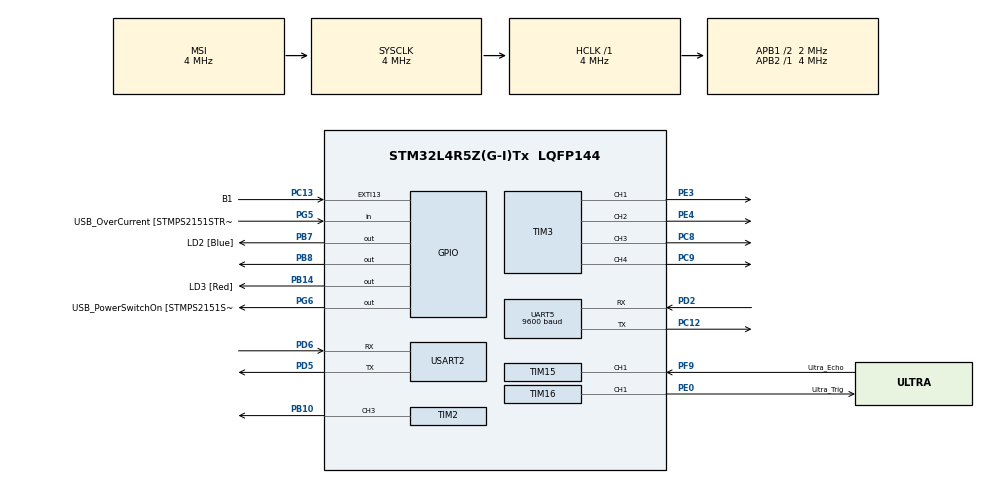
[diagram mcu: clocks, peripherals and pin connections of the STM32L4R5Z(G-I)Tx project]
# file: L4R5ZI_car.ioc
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Mcu.Family=STM32L4
Mcu.Name=STM32L4R5Z(G-I)Tx
Mcu.Package=LQFP144
NVIC.PriorityGroup=NVIC_PRIORITYGROUP_4
NVIC.TIM1_BRK_TIM15_IRQn=true\:1\:0\:true\:false\:true\:true\:true\:true
PA10.GPIO_Label=USB_ID
PA10.Signal=USB_OTG_FS_ID
PA11.GPIO_Label=USB_DM
PA11.Signal=USB_OTG_FS_DM
PA12.GPIO_Label=USB_DP
PA12.Signal=USB_OTG_FS_DP
PA13\ (JTMS/SWDIO).GPIO_Label=TMS
PA13\ (JTMS/SWDIO).Mode=Trace_Asynchronous_SW
PA13\ (JTMS/SWDIO).Signal=SYS_JTMS-SWDIO
PA14\ (JTCK/SWCLK).GPIO_Label=TCK
PA14\ (JTCK/SWCLK).Mode=Trace_Asynchronous_SW
PA14\ (JTCK/SWCLK).Signal=SYS_JTCK-SWCLK
PA8.GPIO_Label=USB_SOF [TP1]
PA8.Signal=USB_OTG_FS_SOF
PA9.GPIO_Label=USB_VBUS
PA9.Signal=USB_OTG_FS_VBUS
PB10.Signal=S_TIM2_CH3
PB14.GPIO_Label=LD3 [Red]
PB14.Signal=GPIO_Output
PB3\ (JTDO/TRACESWO).GPIO_Label=SWO
PB3\ (JTDO/TRACESWO).Mode=Trace_Asynchronous_SW
PB3\ (JTDO/TRACESWO).Signal=SYS_JTDO-SWO
PB7.GPIO_Label=LD2 [Blue]
PB7.Signal=GPIO_Output
PB8.Signal=GPIO_Output
PC10.GPIO_Label=STLK_RX [STM32F103CBT6_PA3]
PC10.Signal=USART3_TX
PC11.GPIO_Label=STLK_TX [STM32F103CBT6_PA2]
PC11.Signal=USART3_RX
PC12.Mode=Asynchronous
PC12.Signal=UART5_TX
PC13.GPIO_Label=B1
PC13.Signal=GPXTI13
PC14-OSC32_IN\ (PC14).Mode=LSE-External-Oscillator
PC14-OSC32_IN\ (PC14).Signal=RCC_OSC32_IN
PC15-OSC32_OUT\ (PC15).Mode=LSE-External-Oscillator
PC15-OSC32_OUT\ (PC15).Signal=RCC_OSC32_OUT
PC8.Signal=S_TIM3_CH3
PC9.Signal=S_TIM3_CH4
PD2.Mode=Asynchronous
PD2.Signal=UART5_RX
PD5.Mode=Asynchronous
PD5.Signal=USART2_TX
PD6.Mode=Asynchronous
PD6.Signal=USART2_RX
PE0.GPIO_Label=Ultra_Trig
PE0.Signal=S_TIM16_CH1
PE3.Signal=S_TIM3_CH1
PE4.Signal=S_TIM3_CH2
PF9.GPIO_Label=Ultra_Echo
PF9.Signal=S_TIM15_CH1
PG5.GPIO_Label=USB_OverCurrent [STMPS2151STR_FAULT]
PG5.Signal=GPIO_Input
PG6.GPIO_Label=USB_PowerSwitchOn [STMPS2151STR_En]
PG6.Signal=GPIO_Output
PG7.GPIO_Label=STLINK_TX
PG7.Signal=LPUART1_TX
PG8.GPIO_Label=STLINK_RX
PG8.Signal=LPUART1_RX
PH0-OSC_IN\ (PH0).Mode=HSE-External-Clock-Source
PH0-OSC_IN\ (PH0).Signal=RCC_OSC_IN
PH1-OSC_OUT\ (PH1).Signal=RCC_OSC_OUT
ProjectManager.HeapSize=0x200
ProjectManager.StackSize=0x400
ProjectManager.TargetToolchain=STM32CubeIDE
RCC.48MHZClocksFreq_Value=24000000
RCC.AHBFreq_Value=4000000
RCC.APB1CLKDivider=RCC_HCLK_DIV2
RCC.APB1Freq_Value=2000000
RCC.APB1TimFreq_Value=4000000
RCC.APB2Freq_Value=4000000
RCC.APB2TimFreq_Value=4000000
RCC.CortexFreq_Value=4000000
RCC.HCLKFreq_Value=4000000
RCC.HSE_VALUE=8000000
RCC.HSI48_VALUE=48000000
RCC.HSI_VALUE=16000000
RCC.MSI_VALUE=4000000
RCC.PLLMUL=RCC_PLL_MUL9
RCC.PRESCALERUSB=RCC_USBCLKSOURCE_PLL_DIV1_5
RCC.SYSCLKFreq_VALUE=4000000
RCC.SYSCLKSourceVirtual=RCC_SYSCLKSOURCE_PLLCLK
RCC.USBFreq_Value=16000000
RCC.VCOOutputFreq_Value=32000000
SH.S_TIM15_CH1.0=TIM15_CH1,Input_Capture1_from_TI1
SH.S_TIM16_CH1.0=TIM16_CH1,PWM Generation1 CH1
SH.S_TIM2_CH3.0=TIM2_CH3,PWM Generation3 CH3
SH.S_TIM3_CH1.0=TIM3_CH1,PWM Generation1 CH1
SH.S_TIM3_CH2.0=TIM3_CH2,PWM Generation2 CH2
SH.S_TIM3_CH3.0=TIM3_CH3,PWM Generation3 CH3
SH.S_TIM3_CH4.0=TIM3_CH4,PWM Generation4 CH4
TIM15.Channel-Input_Capture1_from_TI1=TIM_CHANNEL_1
TIM15.Prescaler=3
TIM16.Channel=TIM_CHANNEL_1
TIM16.Period=3999
TIM16.Prescaler=39
TIM16.Pulse=1
TIM2.Channel-PWM\ Generation3\ CH3=TIM_CHANNEL_3
TIM2.OCPolarity_3=TIM_OCPOLARITY_LOW
TIM2.Period=1000
TIM2.Prescaler=8
TIM2.Pulse-PWM\ Generation3\ CH3=500
TIM3.Channel-PWM\ Generation1\ CH1=TIM_CHANNEL_1
TIM3.Channel-PWM\ Generation2\ CH2=TIM_CHANNEL_2
TIM3.Channel-PWM\ Generation3\ CH3=TIM_CHANNEL_3
TIM3.Channel-PWM\ Generation4\ CH4=TIM_CHANNEL_4
TIM4.Channel-PWM\ Generation4\ No\ Output=TIM_CHANNEL_4
TIM4.OCPolarity_4=TIM_OCPOLARITY_LOW
TIM4.Period=10000
TIM4.Prescaler=399
TIM4.Pulse-PWM\ Generation4\ No\ Output=5000
UART5.BaudRate=9600
USART2.VirtualMode-Asynchronous=VM_ASYNC
VP_TIM15_VS_ClockSourceINT.Mode=Internal
VP_TIM16_VS_ClockSourceINT.Mode=Enable_Timer
VP_TIM2_VS_ClockSourceINT.Mode=Internal
VP_TIM3_VS_ClockSourceINT.Mode=Internal
VP_TIM4_VS_ClockSourceINT.Mode=Internal
VP_TIM4_VS_no_output4.Mode=PWM Generation4 No Output
board=NUCLEO-L4R5ZI

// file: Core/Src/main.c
/* USER CODE BEGIN Header */
/**
  ******************************************************************************
  * @file           : main.c
  * @brief          : Main program body
  ******************************************************************************
  * @attention
  *
  * Copyright (c) 2025 STMicroelectronics.
  * All rights reserved.
  *
  * This software is licensed under terms that can be found in the LICENSE file
  * in the root directory of this software component.
  * If no LICENSE file comes with this software, it is provided AS-IS.
  *
  ******************************************************************************
  */
/* USER CODE END Header */
#include "main.h"

/* USER CODE BEGIN Includes */
#include <stdlib.h>
#include <math.h>
#include <string.h>
#include "ArmDriver.h"
/* USER CODE END Includes */

/* USER CODE BEGIN PD */
#define FLEX_MIN 300.0
#define FLEX_MAX 750.0

#define ARM_MIN -150.0
#define ARM_MAX 150.0
/* USER CODE END PD */

TIM_HandleTypeDef htim2;
TIM_HandleTypeDef htim3;
TIM_HandleTypeDef htim4;
TIM_HandleTypeDef htim15;
TIM_HandleTypeDef htim16;

UART_HandleTypeDef huart5;
UART_HandleTypeDef huart2;

/* USER CODE BEGIN PV */
int ultraCounter = 0;
/* USER CODE END PV */

void SystemClock_Config(void);
static void MX_GPIO_Init(void);
static void MX_TIM3_Init(void);
static void MX_UART5_Init(void);
static void MX_TIM2_Init(void);
static void MX_USART2_UART_Init(void);
static void MX_TIM4_Init(void);
static void MX_TIM15_Init(void);
static void MX_TIM16_Init(void);

int main(void)
{

  /* MCU Configuration--------------------------------------------------------*/

  /* Reset of all peripherals, Initializes the Flash interface and the Systick. */
  HAL_Init();

  /* Configure the system clock */
  SystemClock_Config();

  /* Initialize all configured peripherals */
  MX_GPIO_Init();
  MX_TIM3_Init();
  MX_UART5_Init();
  MX_TIM2_Init();
  MX_USART2_UART_Init();
  MX_TIM4_Init();
  MX_TIM15_Init();
  MX_TIM16_Init();
  /* USER CODE BEGIN 2 */

	// init variables
	HAL_StatusTypeDef ret;
	uint8_t buf[50];

	int16_t x_val, y_val, z_val = 0;
	char x_str[100];
	char y_str[100];
	char z_str[100];
	char adc_str[8];

	char tof_str[8];

    int HonkFlag = 0;
    int BackFlag = 0;

	// pwm for speaker
	TIM2->CCR3 = 500;

	// pwm for motor
	HAL_TIM_PWM_Start(&htim3, TIM_CHANNEL_3);
	TIM3->PSC = 7;
	TIM3->ARR = 3999;

	HAL_TIM_PWM_Start(&htim3, TIM_CHANNEL_1);
	HAL_TIM_PWM_Start(&htim3, TIM_CHANNEL_2);
	HAL_TIM_PWM_Start(&htim3, TIM_CHANNEL_4);
	TIM3->CCR1 = 0;
	TIM3->CCR2 = 0;
	TIM3->CCR3 = 0;
	TIM3->CCR4 = 0;

	// Timer for beep
	HAL_TIM_PWM_Start(&htim4, TIM_CHANNEL_4);

	// Timer for ultrasonic
	HAL_TIM_IC_Start_IT(&htim15, TIM_CHANNEL_1); // Echo Capture
	HAL_TIM_PWM_Start(&htim16, TIM_CHANNEL_1); // Trigger Pwm

	// Enable arm
	// Note: Baud Rate = 115200
	LX16ABus_init(&huart2);

	/*
	 * Glove modes
	 * 0: Control car
	 * 1: Control arm
	 */
	uint8_t glove_mode = 0;

  /* USER CODE END 2 */

  /* Infinite loop */
  /* USER CODE BEGIN WHILE */
  while (1)
  {
	// Look for start character
	ret = HAL_UART_Receive(&huart5, buf, 1, 1000);
	if (ret != HAL_OK || buf[0] != '#') { continue; }

	// Set glove mode
	ret = HAL_UART_Receive(&huart5, buf, 1, 1000);
	if (ret != HAL_OK) { continue; }
	glove_mode = buf[0];

	float ultraDistance = ultraCounter / 144.0; // gives distance in inches
	// TODO: Change 10 to a suitable range
	if (ultraDistance < 6)
	{
		// TODO: Make speaker beep?
		//			HAL_TIM_PWM_Start(&htim2, TIM_CHANNEL_3);
		HonkFlag = 1;
	}
	else{
		HonkFlag = 0;
	}

	if (glove_mode == '0')
	{
		// Accelerometer values (8+8+8=24) = 24 bytes
		ret = HAL_UART_Receive(&huart5, buf, 24, 1000);
		if (ret != HAL_OK) { continue; }

		// Parse accelerometer values
		int i = 0;
		int j = 0;
		while(buf[i] != '\0') {
			x_str[j] = buf[i];
			++j;
			++i;
		}
		x_str[j] = '\0';
		j = 0;
		i = 8;
		while(buf[i] != '\0') {
			y_str[j] = buf[i];
			++j;
			++i;
		}
		y_str[j] = '\0';
		j = 0;
		i = 16;
		while(buf[i] != '\0') {
			z_str[j] = buf[i];
			++j;
			++i;
		}
		z_str[j] = '\0';

		x_val = atoi(x_str);
		y_val = atoi(y_str);
		z_val = atoi(z_str);

		// Convert accelerometer values to pwm
		x_val = (abs(x_val) > 12500) ? (x_val < 0 ? -12000 : 12000) : x_val;
		x_val = (abs(x_val) < 1000) ? 0 : x_val;
		y_val = (abs(y_val) > 12500) ? (y_val < 0 ? -12000 : 12000) : y_val;
		y_val = (abs(y_val) < 1000) ? 0 : y_val;
		z_val = (abs(z_val) > 12500) ? (z_val < 0 ? -12000 : 12000) : z_val;
		z_val = (abs(z_val) < 1000) ? 0 : z_val;

		float x_float = x_val / 12000.0;
		float y_float = y_val / 12000.0;
		float z_float = z_val / 12000.0;

		x_float = x_float * 1023;
		y_float = y_float * 1023;
		z_float = z_float * 1023;

		// TODO: Change 10 to a suitable range
		if (ultraDistance < 6)
		{
			// Set Joystick Y input (i.e. y_float) to zero if trying to go forward
			y_float = (y_float < 0) ? 0 : y_float;

		}

		float nMotPremixL, nMotPremixR, nPivSpeed, fPivScale, nMotMixL, nMotMixR;

		if (y_float >= 0) {
		  // Forward
		  nMotPremixL = (x_float>=0)? 1023.0 : (1023.0 + x_float);
		  nMotPremixR = (x_float>=0)? (1023.0 - x_float) : 1023.0;
		} else {
		  // Reverse
		  nMotPremixL = (x_float>=0)? (1023.0 - x_float) : 1023.0;
		  nMotPremixR = (x_float>=0)? 1023.0 : (1023.0 + x_float);
		}

		// Scale Drive output due to Joystick Y input (throttle)
		nMotPremixL = nMotPremixL * y_float/1023.0;
		nMotPremixR = nMotPremixR * y_float/1023.0;

		// Now calculate pivot amount
		// - Strength of pivot (nPivSpeed) based on Joystick X input
		// - Blending of pivot vs drive (fPivScale) based on Joystick Y input
		nPivSpeed = x_float;
		fPivScale = (fabs(y_float)>1023)? 0.0 : (1.0 - fabs(y_float)/1023);

		// Calculate final mix of Drive and Pivot
		nMotMixL = (1.0-fPivScale)*nMotPremixL + fPivScale*( nPivSpeed);
		nMotMixR = (1.0-fPivScale)*nMotPremixR + fPivScale*(-nPivSpeed);
		int CCRL = abs((int)((nMotMixL / 1023) * 4000));
		int CCRR = abs((int)((nMotMixR / 1023) * 4000));

		// TIM3 CHANNEL 1 = IN1
		// TIM3 CHANNEL 2 = IN2
		// TIM3 CHANNEL 3 = IN3
		// TIME CHANNEL 4 = IN4

		// send pwm
		if (nMotMixL < 0)
		{
			TIM3->CCR3 = CCRL;
			TIM3->CCR4 = 0;
		}
		else
		{
			TIM3->CCR3 = 0;
			TIM3->CCR4 = CCRL;
		}
		if (nMotMixR < 0)
		{
			TIM3->CCR1 = CCRR;
			TIM3->CCR2 = 0;
		}
		else
		{
			TIM3->CCR1 = 0;
			TIM3->CCR2 = CCRR;
		}

		// Speaker part
		if((nMotMixR>0)&&(nMotMixL>0)&&(__HAL_TIM_GET_COUNTER(&htim4)>5000)){
		    //set pwm2 prsc to 1000hz out
			__HAL_TIM_SET_PRESCALER(&htim2,3);
			HAL_TIM_PWM_Start(&htim2, TIM_CHANNEL_3);
			HAL_GPIO_WritePin(GPIOB,GPIO_PIN_8,1);
			BackFlag = 1;
		}
	    else if (HonkFlag){
	    	//set pwm2 prsc to 440hz out
			__HAL_TIM_SET_PRESCALER(&htim2,8);
	    	HAL_TIM_PWM_Start(&htim2, TIM_CHANNEL_3);
			HAL_GPIO_WritePin(GPIOB,GPIO_PIN_8,0);
			BackFlag = 0;
	    }
		else{
			HAL_TIM_PWM_Stop(&htim2, TIM_CHANNEL_3);
			HAL_GPIO_WritePin(GPIOB,GPIO_PIN_8,0);
			BackFlag = 0;
		}
	}
	else if (glove_mode == '1')
	{
		// Set car pwm to zero
		TIM3->CCR1 = 0;
		TIM3->CCR2 = 0;
		TIM3->CCR3 = 0;
		TIM3->CCR4 = 0;

		// TOF Values (8) + Flex sensor values (8) = 16 bytes
		ret = HAL_UART_Receive(&huart5, buf, 16, 1000);
		if (ret != HAL_OK) { continue; }

		/*
		 * ARM IDs:
		 * 1: Open/Close Hand
		 * 2: Wrist roll
		 * 3: Wrist pitch
		 * 4: Elbow pitch
		 * 5: Shoulder pitch (?)
		 * 6: Shoulder yaw (?)
		 */

		// Arm
		memcpy(tof_str, buf, 8);
		int tofDistance = atoi(tof_str);
		tofDistance = (tofDistance < ARM_MIN) ? ARM_MIN : (tofDistance > ARM_MAX ? ARM_MAX : tofDistance);
		float normalized_tof = (tofDistance - ARM_MIN)/(ARM_MAX - ARM_MIN);
		ArmPos(normalized_tof * 100.0);

		// Open/Close Hand (Flex Sensor)
		memcpy(adc_str, buf+8, 8);
		int adc_val = atoi(adc_str);
		adc_val = (adc_val < FLEX_MIN) ? FLEX_MIN : (adc_val > FLEX_MAX ? FLEX_MAX : adc_val);
		float normalized_adc = (adc_val - FLEX_MIN) / (FLEX_MAX - FLEX_MIN);
		LX16ABus_set_servo(1, normalized_adc * 240.0, 120);

		//honk in mode 1
		if (BackFlag)
		{
			HAL_TIM_PWM_Stop(&htim2, TIM_CHANNEL_3);
			HAL_GPIO_WritePin(GPIOB,GPIO_PIN_8,0);
		}
		else if(HonkFlag){
			__HAL_TIM_SET_PRESCALER(&htim2,8);
			HAL_TIM_PWM_Start(&htim2, TIM_CHANNEL_3);
			HAL_GPIO_WritePin(GPIOB,GPIO_PIN_8,0);
		}
		else{
			HAL_TIM_PWM_Stop(&htim2, TIM_CHANNEL_3);
			HAL_GPIO_WritePin(GPIOB,GPIO_PIN_8,0);
		}
	}
    /* USER CODE END WHILE */

  }
}

void SystemClock_Config(void)
{
  RCC_OscInitTypeDef RCC_OscInitStruct = {0};
  RCC_ClkInitTypeDef RCC_ClkInitStruct = {0};

  /** Configure the main internal regulator output voltage
  */
  if (HAL_PWREx_ControlVoltageScaling(PWR_REGULATOR_VOLTAGE_SCALE1) != HAL_OK)
  {
    Error_Handler();
  }

  /** Initializes the RCC Oscillators according to the specified parameters
  * in the RCC_OscInitTypeDef structure.
  */
  RCC_OscInitStruct.OscillatorType = RCC_OSCILLATORTYPE_MSI;
  RCC_OscInitStruct.MSIState = RCC_MSI_ON;
  RCC_OscInitStruct.MSICalibrationValue = 0;
  RCC_OscInitStruct.MSIClockRange = RCC_MSIRANGE_6;
  RCC_OscInitStruct.PLL.PLLState = RCC_PLL_NONE;
  if (HAL_RCC_OscConfig(&RCC_OscInitStruct) != HAL_OK)
  {
    Error_Handler();
  }

  /** Initializes the CPU, AHB and APB buses clocks
  */
  RCC_ClkInitStruct.ClockType = RCC_CLOCKTYPE_HCLK|RCC_CLOCKTYPE_SYSCLK
                              |RCC_CLOCKTYPE_PCLK1|RCC_CLOCKTYPE_PCLK2;
  RCC_ClkInitStruct.SYSCLKSource = RCC_SYSCLKSOURCE_MSI;
  RCC_ClkInitStruct.AHBCLKDivider = RCC_SYSCLK_DIV1;
  RCC_ClkInitStruct.APB1CLKDivider = RCC_HCLK_DIV2;
  RCC_ClkInitStruct.APB2CLKDivider = RCC_HCLK_DIV1;

  if (HAL_RCC_ClockConfig(&RCC_ClkInitStruct, FLASH_LATENCY_0) != HAL_OK)
  {
    Error_Handler();
  }
}

static void MX_TIM2_Init(void)
{

  TIM_ClockConfigTypeDef sClockSourceConfig = {0};
  TIM_MasterConfigTypeDef sMasterConfig = {0};
  TIM_OC_InitTypeDef sConfigOC = {0};

  htim2.Instance = TIM2;
  htim2.Init.Prescaler = 8;
  htim2.Init.CounterMode = TIM_COUNTERMODE_UP;
  htim2.Init.Period = 1000;
  htim2.Init.ClockDivision = TIM_CLOCKDIVISION_DIV1;
  htim2.Init.AutoReloadPreload = TIM_AUTORELOAD_PRELOAD_DISABLE;
  if (HAL_TIM_Base_Init(&htim2) != HAL_OK)
  {
    Error_Handler();
  }
  sClockSourceConfig.ClockSource = TIM_CLOCKSOURCE_INTERNAL;
  if (HAL_TIM_ConfigClockSource(&htim2, &sClockSourceConfig) != HAL_OK)
  {
    Error_Handler();
  }
  if (HAL_TIM_PWM_Init(&htim2) != HAL_OK)
  {
    Error_Handler();
  }
  sMasterConfig.MasterOutputTrigger = TIM_TRGO_RESET;
  sMasterConfig.MasterSlaveMode = TIM_MASTERSLAVEMODE_DISABLE;
  if (HAL_TIMEx_MasterConfigSynchronization(&htim2, &sMasterConfig) != HAL_OK)
  {
    Error_Handler();
  }
  sConfigOC.OCMode = TIM_OCMODE_PWM1;
  sConfigOC.Pulse = 500;
  sConfigOC.OCPolarity = TIM_OCPOLARITY_LOW;
  sConfigOC.OCFastMode = TIM_OCFAST_DISABLE;
  if (HAL_TIM_PWM_ConfigChannel(&htim2, &sConfigOC, TIM_CHANNEL_3) != HAL_OK)
  {
    Error_Handler();
  }
  HAL_TIM_MspPostInit(&htim2);

}

static void MX_TIM3_Init(void)
{

  TIM_ClockConfigTypeDef sClockSourceConfig = {0};
  TIM_MasterConfigTypeDef sMasterConfig = {0};
  TIM_OC_InitTypeDef sConfigOC = {0};

  htim3.Instance = TIM3;
  htim3.Init.Prescaler = 0;
  htim3.Init.CounterMode = TIM_COUNTERMODE_UP;
  htim3.Init.Period = 65535;
  htim3.Init.ClockDivision = TIM_CLOCKDIVISION_DIV1;
  htim3.Init.AutoReloadPreload = TIM_AUTORELOAD_PRELOAD_DISABLE;
  if (HAL_TIM_Base_Init(&htim3) != HAL_OK)
  {
    Error_Handler();
  }
  sClockSourceConfig.ClockSource = TIM_CLOCKSOURCE_INTERNAL;
  if (HAL_TIM_ConfigClockSource(&htim3, &sClockSourceConfig) != HAL_OK)
  {
    Error_Handler();
  }
  if (HAL_TIM_PWM_Init(&htim3) != HAL_OK)
  {
    Error_Handler();
  }
  sMasterConfig.MasterOutputTrigger = TIM_TRGO_RESET;
  sMasterConfig.MasterSlaveMode = TIM_MASTERSLAVEMODE_DISABLE;
  if (HAL_TIMEx_MasterConfigSynchronization(&htim3, &sMasterConfig) != HAL_OK)
  {
    Error_Handler();
  }
  sConfigOC.OCMode = TIM_OCMODE_PWM1;
  sConfigOC.Pulse = 0;
  sConfigOC.OCPolarity = TIM_OCPOLARITY_HIGH;
  sConfigOC.OCFastMode = TIM_OCFAST_DISABLE;
  if (HAL_TIM_PWM_ConfigChannel(&htim3, &sConfigOC, TIM_CHANNEL_1) != HAL_OK)
  {
    Error_Handler();
  }
  if (HAL_TIM_PWM_ConfigChannel(&htim3, &sConfigOC, TIM_CHANNEL_2) != HAL_OK)
  {
    Error_Handler();
  }
  if (HAL_TIM_PWM_ConfigChannel(&htim3, &sConfigOC, TIM_CHANNEL_3) != HAL_OK)
  {
    Error_Handler();
  }
  if (HAL_TIM_PWM_ConfigChannel(&htim3, &sConfigOC, TIM_CHANNEL_4) != HAL_OK)
  {
    Error_Handler();
  }
  HAL_TIM_MspPostInit(&htim3);

}

static void MX_TIM4_Init(void)
{

  TIM_ClockConfigTypeDef sClockSourceConfig = {0};
  TIM_MasterConfigTypeDef sMasterConfig = {0};
  TIM_OC_InitTypeDef sConfigOC = {0};

  htim4.Instance = TIM4;
  htim4.Init.Prescaler = 399;
  htim4.Init.CounterMode = TIM_COUNTERMODE_UP;
  htim4.Init.Period = 10000;
  htim4.Init.ClockDivision = TIM_CLOCKDIVISION_DIV1;
  htim4.Init.AutoReloadPreload = TIM_AUTORELOAD_PRELOAD_DISABLE;
  if (HAL_TIM_Base_Init(&htim4) != HAL_OK)
  {
    Error_Handler();
  }
  sClockSourceConfig.ClockSource = TIM_CLOCKSOURCE_INTERNAL;
  if (HAL_TIM_ConfigClockSource(&htim4, &sClockSourceConfig) != HAL_OK)
  {
    Error_Handler();
  }
  if (HAL_TIM_PWM_Init(&htim4) != HAL_OK)
  {
    Error_Handler();
  }
  sMasterConfig.MasterOutputTrigger = TIM_TRGO_RESET;
  sMasterConfig.MasterSlaveMode = TIM_MASTERSLAVEMODE_DISABLE;
  if (HAL_TIMEx_MasterConfigSynchronization(&htim4, &sMasterConfig) != HAL_OK)
  {
    Error_Handler();
  }
  sConfigOC.OCMode = TIM_OCMODE_PWM1;
  sConfigOC.Pulse = 5000;
  sConfigOC.OCPolarity = TIM_OCPOLARITY_LOW;
  sConfigOC.OCFastMode = TIM_OCFAST_DISABLE;
  if (HAL_TIM_PWM_ConfigChannel(&htim4, &sConfigOC, TIM_CHANNEL_4) != HAL_OK)
  {
    Error_Handler();
  }

}

static void MX_TIM15_Init(void)
{

  TIM_ClockConfigTypeDef sClockSourceConfig = {0};
  TIM_MasterConfigTypeDef sMasterConfig = {0};
  TIM_IC_InitTypeDef sConfigIC = {0};

  htim15.Instance = TIM15;
  htim15.Init.Prescaler = 3;
  htim15.Init.CounterMode = TIM_COUNTERMODE_UP;
  htim15.Init.Period = 65535;
  htim15.Init.ClockDivision = TIM_CLOCKDIVISION_DIV1;
  htim15.Init.RepetitionCounter = 0;
  htim15.Init.AutoReloadPreload = TIM_AUTORELOAD_PRELOAD_DISABLE;
  if (HAL_TIM_Base_Init(&htim15) != HAL_OK)
  {
    Error_Handler();
  }
  sClockSourceConfig.ClockSource = TIM_CLOCKSOURCE_INTERNAL;
  if (HAL_TIM_ConfigClockSource(&htim15, &sClockSourceConfig) != HAL_OK)
  {
    Error_Handler();
  }
  if (HAL_TIM_IC_Init(&htim15) != HAL_OK)
  {
    Error_Handler();
  }
  sMasterConfig.MasterOutputTrigger = TIM_TRGO_RESET;
  sMasterConfig.MasterSlaveMode = TIM_MASTERSLAVEMODE_DISABLE;
  if (HAL_TIMEx_MasterConfigSynchronization(&htim15, &sMasterConfig) != HAL_OK)
  {
    Error_Handler();
  }
  sConfigIC.ICPolarity = TIM_INPUTCHANNELPOLARITY_RISING;
  sConfigIC.ICSelection = TIM_ICSELECTION_DIRECTTI;
  sConfigIC.ICPrescaler = TIM_ICPSC_DIV1;
  sConfigIC.ICFilter = 0;
  if (HAL_TIM_IC_ConfigChannel(&htim15, &sConfigIC, TIM_CHANNEL_1) != HAL_OK)
  {
    Error_Handler();
  }

}

static void MX_TIM16_Init(void)
{

  TIM_OC_InitTypeDef sConfigOC = {0};
  TIM_BreakDeadTimeConfigTypeDef sBreakDeadTimeConfig = {0};

  htim16.Instance = TIM16;
  htim16.Init.Prescaler = 39;
  htim16.Init.CounterMode = TIM_COUNTERMODE_UP;
  htim16.Init.Period = 3999;
  htim16.Init.ClockDivision = TIM_CLOCKDIVISION_DIV1;
  htim16.Init.RepetitionCounter = 0;
  htim16.Init.AutoReloadPreload = TIM_AUTORELOAD_PRELOAD_DISABLE;
  if (HAL_TIM_Base_Init(&htim16) != HAL_OK)
  {
    Error_Handler();
  }
  if (HAL_TIM_PWM_Init(&htim16) != HAL_OK)
  {
    Error_Handler();
  }
  sConfigOC.OCMode = TIM_OCMODE_PWM1;
  sConfigOC.Pulse = 1;
  sConfigOC.OCPolarity = TIM_OCPOLARITY_HIGH;
  sConfigOC.OCNPolarity = TIM_OCNPOLARITY_HIGH;
  sConfigOC.OCFastMode = TIM_OCFAST_DISABLE;
  sConfigOC.OCIdleState = TIM_OCIDLESTATE_RESET;
  sConfigOC.OCNIdleState = TIM_OCNIDLESTATE_RESET;
  if (HAL_TIM_PWM_ConfigChannel(&htim16, &sConfigOC, TIM_CHANNEL_1) != HAL_OK)
  {
    Error_Handler();
  }
  sBreakDeadTimeConfig.OffStateRunMode = TIM_OSSR_DISABLE;
  sBreakDeadTimeConfig.OffStateIDLEMode = TIM_OSSI_DISABLE;
  sBreakDeadTimeConfig.LockLevel = TIM_LOCKLEVEL_OFF;
  sBreakDeadTimeConfig.DeadTime = 0;
  sBreakDeadTimeConfig.BreakState = TIM_BREAK_DISABLE;
  sBreakDeadTimeConfig.BreakPolarity = TIM_BREAKPOLARITY_HIGH;
  sBreakDeadTimeConfig.AutomaticOutput = TIM_AUTOMATICOUTPUT_DISABLE;
  if (HAL_TIMEx_ConfigBreakDeadTime(&htim16, &sBreakDeadTimeConfig) != HAL_OK)
  {
    Error_Handler();
  }
  HAL_TIM_MspPostInit(&htim16);

}

static void MX_UART5_Init(void)
{

  huart5.Instance = UART5;
  huart5.Init.BaudRate = 9600;
  huart5.Init.WordLength = UART_WORDLENGTH_8B;
  huart5.Init.StopBits = UART_STOPBITS_1;
  huart5.Init.Parity = UART_PARITY_NONE;
  huart5.Init.Mode = UART_MODE_TX_RX;
  huart5.Init.HwFlowCtl = UART_HWCONTROL_NONE;
  huart5.Init.OverSampling = UART_OVERSAMPLING_16;
  huart5.Init.OneBitSampling = UART_ONE_BIT_SAMPLE_DISABLE;
  huart5.Init.ClockPrescaler = UART_PRESCALER_DIV1;
  huart5.AdvancedInit.AdvFeatureInit = UART_ADVFEATURE_NO_INIT;
  if (HAL_UART_Init(&huart5) != HAL_OK)
  {
    Error_Handler();
  }
  if (HAL_UARTEx_SetTxFifoThreshold(&huart5, UART_TXFIFO_THRESHOLD_1_8) != HAL_OK)
  {
    Error_Handler();
  }
  if (HAL_UARTEx_SetRxFifoThreshold(&huart5, UART_RXFIFO_THRESHOLD_1_8) != HAL_OK)
  {
    Error_Handler();
  }
  if (HAL_UARTEx_DisableFifoMode(&huart5) != HAL_OK)
  {
    Error_Handler();
  }

}

static void MX_USART2_UART_Init(void)
{

  huart2.Instance = USART2;
  huart2.Init.BaudRate = 115200;
  huart2.Init.WordLength = UART_WORDLENGTH_8B;
  huart2.Init.StopBits = UART_STOPBITS_1;
  huart2.Init.Parity = UART_PARITY_NONE;
  huart2.Init.Mode = UART_MODE_TX_RX;
  huart2.Init.HwFlowCtl = UART_HWCONTROL_NONE;
  huart2.Init.OverSampling = UART_OVERSAMPLING_16;
  huart2.Init.OneBitSampling = UART_ONE_BIT_SAMPLE_DISABLE;
  huart2.Init.ClockPrescaler = UART_PRESCALER_DIV1;
  huart2.AdvancedInit.AdvFeatureInit = UART_ADVFEATURE_NO_INIT;
  if (HAL_UART_Init(&huart2) != HAL_OK)
  {
    Error_Handler();
  }
  if (HAL_UARTEx_SetTxFifoThreshold(&huart2, UART_TXFIFO_THRESHOLD_1_8) != HAL_OK)
  {
    Error_Handler();
  }
  if (HAL_UARTEx_SetRxFifoThreshold(&huart2, UART_RXFIFO_THRESHOLD_1_8) != HAL_OK)
  {
    Error_Handler();
  }
  if (HAL_UARTEx_DisableFifoMode(&huart2) != HAL_OK)
  {
    Error_Handler();
  }

}

static void MX_GPIO_Init(void)
{
  GPIO_InitTypeDef GPIO_InitStruct = {0};

  /* GPIO Ports Clock Enable */
  __HAL_RCC_GPIOE_CLK_ENABLE();
  __HAL_RCC_GPIOC_CLK_ENABLE();
  __HAL_RCC_GPIOF_CLK_ENABLE();
  __HAL_RCC_GPIOH_CLK_ENABLE();
  __HAL_RCC_GPIOB_CLK_ENABLE();
  __HAL_RCC_GPIOG_CLK_ENABLE();
  HAL_PWREx_EnableVddIO2();
  __HAL_RCC_GPIOA_CLK_ENABLE();
  __HAL_RCC_GPIOD_CLK_ENABLE();

  /*Configure GPIO pin Output Level */
  HAL_GPIO_WritePin(GPIOB, LD3_Pin|LD2_Pin|GPIO_PIN_8, GPIO_PIN_RESET);

  /*Configure GPIO pin Output Level */
  HAL_GPIO_WritePin(USB_PowerSwitchOn_GPIO_Port, USB_PowerSwitchOn_Pin, GPIO_PIN_RESET);

  /*Configure GPIO pin : B1_Pin */
  GPIO_InitStruct.Pin = B1_Pin;
  GPIO_InitStruct.Mode = GPIO_MODE_IT_RISING;
  GPIO_InitStruct.Pull = GPIO_NOPULL;
  HAL_GPIO_Init(B1_GPIO_Port, &GPIO_InitStruct);

  /*Configure GPIO pins : LD3_Pin LD2_Pin PB8 */
  GPIO_InitStruct.Pin = LD3_Pin|LD2_Pin|GPIO_PIN_8;
  GPIO_InitStruct.Mode = GPIO_MODE_OUTPUT_PP;
  GPIO_InitStruct.Pull = GPIO_NOPULL;
  GPIO_InitStruct.Speed = GPIO_SPEED_FREQ_LOW;
  HAL_GPIO_Init(GPIOB, &GPIO_InitStruct);

  /*Configure GPIO pin : USB_OverCurrent_Pin */
  GPIO_InitStruct.Pin = USB_OverCurrent_Pin;
  GPIO_InitStruct.Mode = GPIO_MODE_INPUT;
  GPIO_InitStruct.Pull = GPIO_NOPULL;
  HAL_GPIO_Init(USB_OverCurrent_GPIO_Port, &GPIO_InitStruct);

  /*Configure GPIO pin : USB_PowerSwitchOn_Pin */
  GPIO_InitStruct.Pin = USB_PowerSwitchOn_Pin;
  GPIO_InitStruct.Mode = GPIO_MODE_OUTPUT_PP;
  GPIO_InitStruct.Pull = GPIO_NOPULL;
  GPIO_InitStruct.Speed = GPIO_SPEED_FREQ_LOW;
  HAL_GPIO_Init(USB_PowerSwitchOn_GPIO_Port, &GPIO_InitStruct);

  /*Configure GPIO pins : STLINK_TX_Pin STLINK_RX_Pin */
  GPIO_InitStruct.Pin = STLINK_TX_Pin|STLINK_RX_Pin;
  GPIO_InitStruct.Mode = GPIO_MODE_AF_PP;
  GPIO_InitStruct.Pull = GPIO_NOPULL;
  GPIO_InitStruct.Speed = GPIO_SPEED_FREQ_VERY_HIGH;
  GPIO_InitStruct.Alternate = GPIO_AF8_LPUART1;
  HAL_GPIO_Init(GPIOG, &GPIO_InitStruct);

  /*Configure GPIO pins : USB_SOF_Pin USB_ID_Pin USB_DM_Pin USB_DP_Pin */
  GPIO_InitStruct.Pin = USB_SOF_Pin|USB_ID_Pin|USB_DM_Pin|USB_DP_Pin;
  GPIO_InitStruct.Mode = GPIO_MODE_AF_PP;
  GPIO_InitStruct.Pull = GPIO_NOPULL;
  GPIO_InitStruct.Speed = GPIO_SPEED_FREQ_VERY_HIGH;
  GPIO_InitStruct.Alternate = GPIO_AF10_OTG_FS;
  HAL_GPIO_Init(GPIOA, &GPIO_InitStruct);

  /*Configure GPIO pin : USB_VBUS_Pin */
  GPIO_InitStruct.Pin = USB_VBUS_Pin;
  GPIO_InitStruct.Mode = GPIO_MODE_INPUT;
  GPIO_InitStruct.Pull = GPIO_NOPULL;
  HAL_GPIO_Init(USB_VBUS_GPIO_Port, &GPIO_InitStruct);

  /*Configure GPIO pins : STLK_RX_Pin STLK_TX_Pin */
  GPIO_InitStruct.Pin = STLK_RX_Pin|STLK_TX_Pin;
  GPIO_InitStruct.Mode = GPIO_MODE_AF_PP;
  GPIO_InitStruct.Pull = GPIO_NOPULL;
  GPIO_InitStruct.Speed = GPIO_SPEED_FREQ_VERY_HIGH;
  GPIO_InitStruct.Alternate = GPIO_AF7_USART3;
  HAL_GPIO_Init(GPIOC, &GPIO_InitStruct);

}

/* USER CODE BEGIN 4 */
#ifdef __GNUC__
#define PUTCHAR_PROTOTYPE int __io_putchar(int ch)
#else
  #define PUTCHAR_PROTOTYPE int fputc(int ch, FILE *f)
#endif /* __GNUC__ */
PUTCHAR_PROTOTYPE
{
  HAL_UART_Transmit(&huart5, (uint8_t *)&ch, 1, 0xFFFF);
  return ch;
}
/* USER CODE END 4 */

void Error_Handler(void)
{
  __disable_irq();
  while (1)
  {
  }
}
